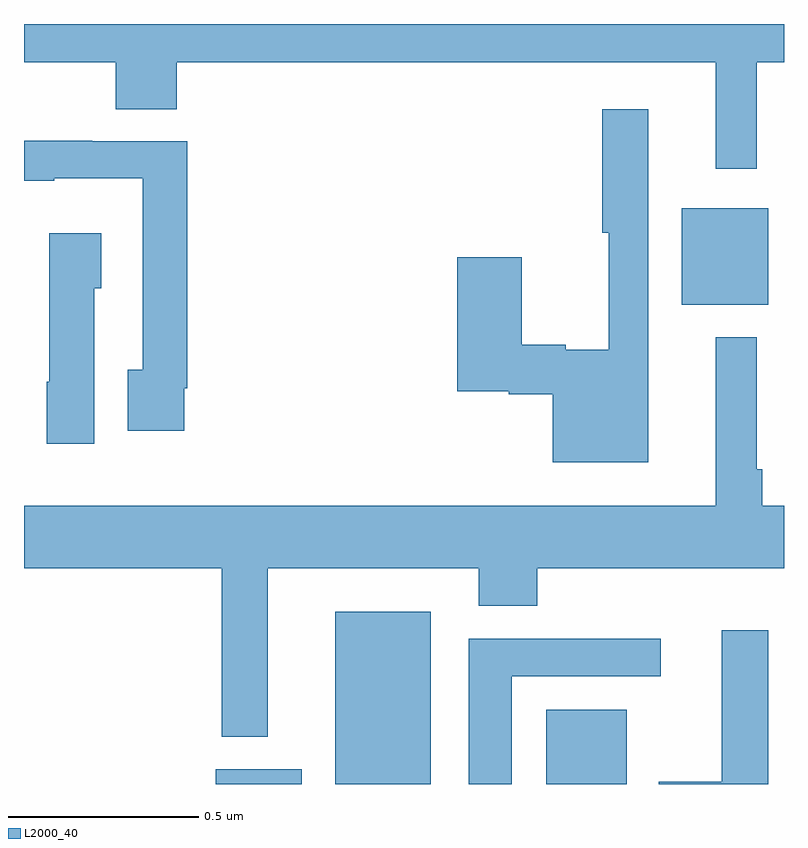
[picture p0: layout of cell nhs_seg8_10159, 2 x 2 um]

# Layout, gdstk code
import gdstk
lib = gdstk.Library(unit=1e-6, precision=1e-09)
def R(c, l, rs):  # rectangles x0, y0, x1, y1
    for r in rs: c.add(gdstk.rectangle(r[:2], r[2:], *l))
def P(c, l, *ps):  # polygons
    for p in ps: c.add(gdstk.Polygon(p, *l))
L2000_40 = (2000, 40)

nhs_seg8_10159 = lib.new_cell('nhs_seg8_10159')
R(nhs_seg8_10159, L2000_40, [(245.504,1147.9,245.731,1147.939), (245.819,1147.9,246.07,1148.353), (246.374,1147.9,246.586,1148.095), (246.731,1149.161,246.958,1149.415)])
P(nhs_seg8_10159, L2000_40, [(246.928,1149.8),(247,1149.8),(247,1149.9),(245,1149.9),(245,1149.8),(245.242,1149.8),(245.242,1149.676),(245.402,1149.676),(245.402,1149.8),(246.821,1149.8),(246.821,1149.519),(246.928,1149.519)],
  [(246.643,1149.676),(246.522,1149.676),(246.522,1149.351),(246.539,1149.351),(246.539,1149.043),(246.425,1149.043),(246.425,1149.056),(246.31,1149.056),(246.31,1149.286),(246.14,1149.286),(246.14,1148.933),(246.276,1148.933),(246.276,1148.926),(246.392,1148.926),(246.392,1148.747),(246.643,1148.747)],
  [(245.422,1148.941),(245.429,1148.941),(245.429,1149.591),(245.179,1149.591),(245.179,1149.593),(245,1149.593),(245,1149.488),(245.079,1149.488),(245.079,1149.494),(245.313,1149.494),(245.313,1148.99),(245.273,1148.99),(245.273,1148.829),(245.422,1148.829)],
  [(245.185,1149.204),(245.203,1149.204),(245.203,1149.349),(245.066,1149.349),(245.066,1148.958),(245.06,1148.958),(245.06,1148.796),(245.185,1148.796)],
  [(245.641,1148.468),(246.197,1148.468),(246.197,1148.369),(246.35,1148.369),(246.35,1148.468),(247,1148.468),(247,1148.632),(246.943,1148.632),(246.943,1148.728),(246.928,1148.728),(246.928,1149.076),(246.821,1149.076),(246.821,1148.632),(245,1148.632),(245,1148.468),(245.52,1148.468),(245.52,1148.024),(245.641,1148.024)],
  [(246.958,1148.305),(246.836,1148.305),(246.836,1147.906),(246.671,1147.906),(246.671,1147.9),(246.958,1147.9)],
  [(246.283,1148.184),(246.676,1148.184),(246.676,1148.282),(246.17,1148.282),(246.17,1147.9),(246.283,1147.9)])

lib.write_gds('nhs_seg8_10159.gds')
